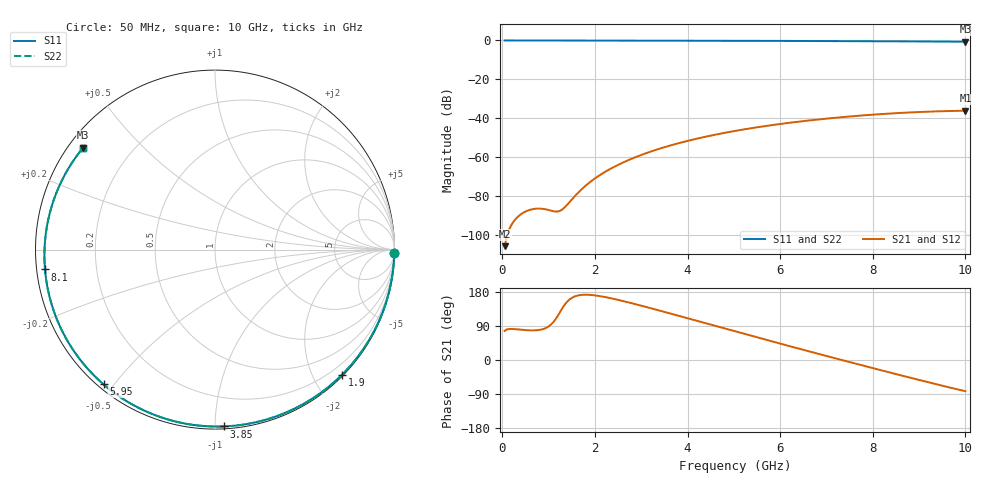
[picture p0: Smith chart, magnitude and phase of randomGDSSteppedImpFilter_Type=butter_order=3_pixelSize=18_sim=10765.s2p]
! freq	dB(S11)	phase(S11)	dB(S12)	phase(S12)
!  dB(S21)	phase(S21)	dB(S22)	phase(S22)
!S-par simulation data
#  GHz  S  DB  R 50
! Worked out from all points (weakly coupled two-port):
!   200 points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, 50 MHz to 10 GHz, reference 50 ohm
!   highest |S21| = -36.05 dB at 10 GHz (marker M1); lowest = -105.5 dB at 50 MHz (marker M2)
!   lowest |S11| = -0.6 dB at 10 GHz (marker M3), VSWR 27.03, Z = 2.07 + j17.1 ohm
!   |S11| at or under -10 dB: nowhere
!   |S22| runs from -0.6 to 0.0 dB; largest |S21 - S12| = 0
!   S11 on the Smith chart (normalised r, x): 50 MHz: 2, -99; 1.9 GHz: 0.02, -2.44; 3.85 GHz: 0.01, -1.05; 5.95 GHz: 0.02, -0.47; 8.1 GHz: 0.02, -0.06; 10 GHz: 0.04, +0.34
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0.05  -0.00 -1.2  -105.53 76.8  -105.53 76.8  -0.00 -1.2
0.45  -0.02 -10.7  -88.41 79.4  -88.41 79.4  -0.02 -10.7
0.8  -0.02 -19.0  -86.24 79.3  -86.24 79.3  -0.02 -19.0
1.55  -0.05 -36.5  -80.27 167.0  -80.27 167.0  -0.05 -36.5
1.75  -0.05 -41.1  -75.53 172.2  -75.53 172.2  -0.05 -41.1
1.9  -0.06 -44.5  -72.55 171.8  -72.55 171.8  -0.06 -44.5
2.2  -0.07 -51.3  -67.69 166.6  -67.69 166.6  -0.07 -51.3
2.55  -0.08 -59.1  -63.25 157.3  -63.25 157.3  -0.08 -59.1
2.95  -0.09 -67.9  -59.19 145.0  -59.19 145.0  -0.09 -67.9
3.4  -0.10 -77.6  -55.49 130.3  -55.49 130.3  -0.10 -77.6
3.85  -0.12 -87.1  -52.43 115.2  -52.43 115.2  -0.12 -87.1
4.45  -0.14 -99.5  -49.06 95.0  -49.06 95.0  -0.14 -99.5
5.05  -0.17 -111.6  -46.31 74.8  -46.31 74.8  -0.17 -111.6
5.95  -0.23 -129.6  -43.01 44.9  -43.01 44.9  -0.23 -129.6
6.7  -0.28 -144.5  -40.85 20.3  -40.85 20.3  -0.28 -144.5
7.4  -0.34 -158.7  -39.21 -2.3  -39.21 -2.3  -0.34 -158.7
8.1  -0.41 -173.3  -37.90 -24.5  -37.90 -24.5  -0.41 -173.3
8.35  -0.44 -178.7  -37.51 -32.4  -37.51 -32.4  -0.44 -178.7
8.8  -0.49 171.3  -36.92 -46.5  -36.92 -46.5  -0.49 171.3
9.2  -0.54 162.0  -36.52 -58.8  -36.52 -58.8  -0.54 162.0
9.6  -0.59 152.3  -36.23 -70.8  -36.23 -70.8  -0.59 152.4
10  -0.64 142.2  -36.05 -82.4  -36.05 -82.4  -0.64 142.2
